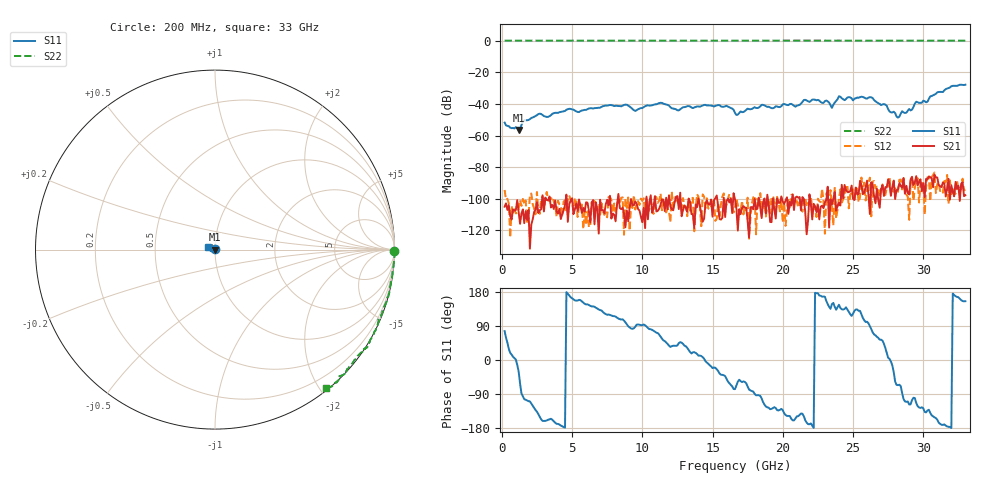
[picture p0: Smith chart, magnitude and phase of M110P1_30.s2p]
# GHZ S RI R 50
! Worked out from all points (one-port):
!   329 points, 200 MHz to 33 GHz, reference 50 ohm
!   lowest |S11| = -56.5 dB at 1.2 GHz (marker M1), VSWR 1.00, Z = 50.1 - j0.076 ohm
!   |S11| at or under -10 dB: start of sweep to end of sweep
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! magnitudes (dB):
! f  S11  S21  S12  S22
! 200 MHz  -51.9  -105.0  -94.4  0.0
! 1.2 GHz  -56.5  -108.1  -106.4  0.0
! 1.6 GHz  -50.5  -115.4  -103.3  0.0
! 2.6 GHz  -46.4  -109.0  -107.3  0.0
! 5.7 GHz  -44.2  -108.8  -103.6  0.0
! 8.8 GHz  -40.5  -118.0  -100.2  0.0
! 9.5 GHz  -44.5  -101.7  -106.7  0.0
! 11.2 GHz  -39.5  -106.3  -101.1  0.0
! 12.6 GHz  -44.1  -106.5  -104.4  0.0
! 16 GHz  -41.2  -101.4  -103.8  -0.1
! 16.6 GHz  -45.7  -100.3  -105.0  0.0
! 20.9 GHz  -41.8  -99.3  -102.3  0.0
! 22.1 GHz  -37.3  -113.0  -105.8  0.0
! 23.1 GHz  -37.9  -100.7  -96.6  0.0
! 23.5 GHz  -42.5  -103.6  -106.0  0.0
! 24 GHz  -35.2  -102.6  -99.9  0.0
! 26.3 GHz  -35.8  -89.5  -111.1  -0.1
! 27.6 GHz  -44.8  -90.6  -86.5  -0.1
! 28.2 GHz  -48.7  -94.2  -95.6  -0.1
! 29.2 GHz  -43.7  -86.1  -86.6  0.0
! 29.5 GHz  -38.7  -85.6  -88.6  0.0
! 33 GHz  -27.9  -97.7  -94.4  -0.1
